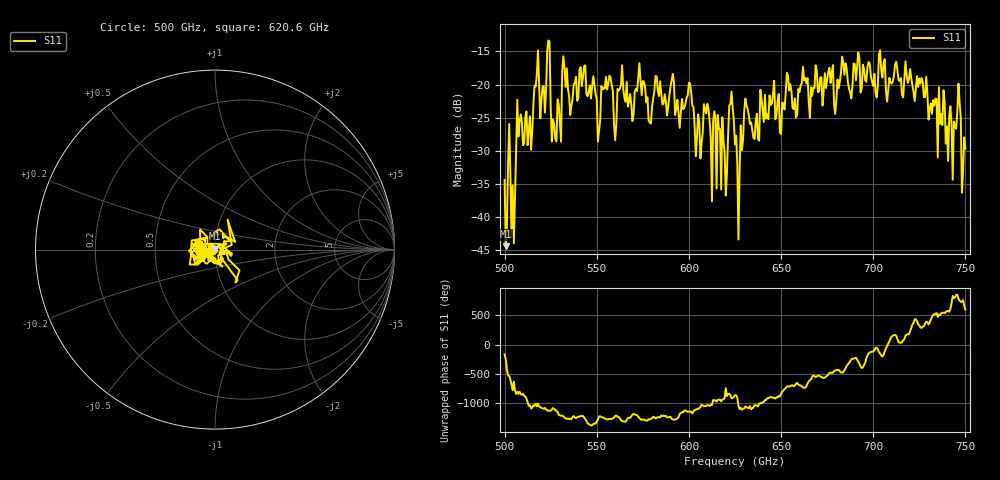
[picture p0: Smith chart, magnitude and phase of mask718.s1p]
!Created with skrf (http://scikit-rf.org).
# GHz S MA R 50.0
!freq magS11 angS11
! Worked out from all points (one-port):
!   401 points, 500 GHz to 750 GHz, reference 50 ohm
!   lowest |S11| = -44.5 dB at 500.6 GHz (marker M1), VSWR 1.01, Z = 49.8 + j0.564 ohm
!   |S11| at or under -10 dB: start of sweep to end of sweep
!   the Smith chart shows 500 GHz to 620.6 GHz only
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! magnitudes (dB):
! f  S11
! 500 GHz  -34.5
! 500.6 GHz  -44.5
! 505 GHz  -44.0
! 507.5 GHz  -27.9
! 513.8 GHz  -24.8
! 517.5 GHz  -18.4
! 520.6 GHz  -20.3
! 523.8 GHz  -13.3
! 526.9 GHz  -26.0
! 531.2 GHz  -17.9
! 542.5 GHz  -18.9
! 550.6 GHz  -28.6
! 562.5 GHz  -20.6
! 593.8 GHz  -22.3
! 600 GHz  -19.7
! 605 GHz  -24.5
! 609.4 GHz  -24.4
! 618.8 GHz  -28.5
! 623.1 GHz  -21.1
! 625 GHz  -29.1
! 627.5 GHz  -33.0
! 631.2 GHz  -23.2
! 656.2 GHz  -23.6
! 687.5 GHz  -21.2
! 718.8 GHz  -19.8
! 741.9 GHz  -23.3
! 746.2 GHz  -19.9
! 750 GHz  -29.7
